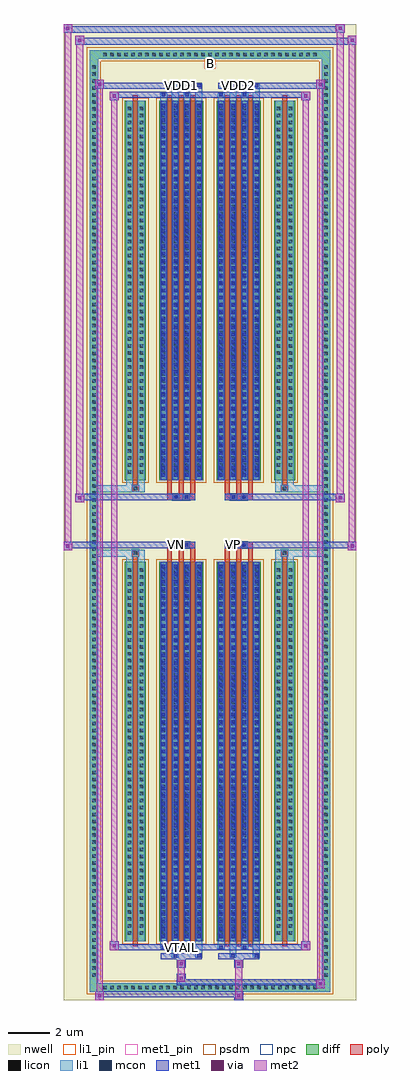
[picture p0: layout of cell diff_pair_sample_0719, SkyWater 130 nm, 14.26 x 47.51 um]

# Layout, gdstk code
import gdstk
lib = gdstk.Library(unit=1e-6, precision=5e-09)
def R(c, l, rs):  # rectangles x0, y0, x1, y1
    for r in rs: c.add(gdstk.rectangle(r[:2], r[2:], *l))
def A(c, l, x, y, w, h, nx, ny, dx, dy):  # array of equal rectangles
    R(c, l, [(x+i*dx, y+j*dy, x+i*dx+w, y+j*dy+h) for i in range(nx) for j in range(ny)])
def P(c, l, *ps):  # polygons
    for p in ps: c.add(gdstk.Polygon(p, *l))
nwell = (64, 20)
diff = (65, 20)
poly = (66, 20)
licon = (66, 44)
li1_pin = (67, 16)
li1 = (67, 20)
mcon = (67, 44)
met1_pin = (68, 16)
met1 = (68, 20)
via = (68, 44)
met2 = (69, 20)
psdm = (94, 20)
npc = (95, 20)

diff_pair_sample_0719 = lib.new_cell('diff_pair_sample_0719')
R(diff_pair_sample_0719, nwell, [(-7.13,-23.32,7.13,24.19), (-4.45,-21.51,-0.01,-0.805), (0.01,-21.51,4.45,-0.805), (-4.45,0.805,-0.01,21.51), (0.01,0.805,4.45,21.51)])
A(diff_pair_sample_0719, diff, -5.305, -22.92, 0.41, 0.41, 31, 2, 0.34, 45.43)
A(diff_pair_sample_0719, diff, -5.86, -22.305, 0.41, 0.41, 1, 131, 0, 0.34)
A(diff_pair_sample_0719, diff, 5.45, -22.305, 0.41, 0.41, 1, 131, 0, 0.34)
R(diff_pair_sample_0719, diff, [(-5.305,-22.92,5.305,-22.51), (-5.86,-22.305,-5.45,22.305), (5.45,-22.305,5.86,22.305), (-4.14,-20.465,-3.12,-1.985), (-2.48,-20.465,-0.32,-1.985), (0.32,-20.465,2.48,-1.985), (3.12,-20.465,4.14,-1.985), (-4.14,1.985,-3.12,20.465), (-2.48,1.985,-0.32,20.465), (0.32,1.985,2.48,20.465), (3.12,1.985,4.14,20.465), (-5.305,22.51,5.305,22.92)])
P(diff_pair_sample_0719, diff, [(5.86,22.92),(-5.86,22.92),(-5.86,-22.51),(-5.45,-22.51),(-5.45,22.51),(5.45,22.51),(5.45,-22.51),(-5.45,-22.51),(-5.86,-22.51),(-5.86,-22.92),(5.86,-22.92)])
A(diff_pair_sample_0719, poly, -2.09, -20.715, 0.24, 18.98, 3, 2, 0.57, 22.45)
A(diff_pair_sample_0719, poly, 0.71, -20.715, 0.24, 18.98, 3, 2, 0.57, 22.45)
A(diff_pair_sample_0719, poly, -2.09, -1.735, 0.24, 0.4, 3, 2, 0.57, 3.07)
A(diff_pair_sample_0719, poly, 0.71, -1.735, 0.24, 0.4, 3, 2, 0.57, 3.07)
R(diff_pair_sample_0719, poly, [(-3.75,-20.715,-3.51,-1.735), (3.51,-20.715,3.75,-1.735), (-3.795,-1.735,-3.465,-1.405), (-3.795,-1.735,-3.465,-1.405), (3.465,-1.735,3.795,-1.405), (3.465,-1.735,3.795,-1.405), (-2.09,-1.335,-0.71,-1.005), (-1.815,-1.335,-1.485,-1.005), (-1.315,-1.335,-0.985,-1.005), (0.71,-1.335,2.09,-1.005), (0.985,-1.335,1.315,-1.005), (1.485,-1.335,1.815,-1.005), (-2.09,1.005,-0.71,1.335), (-1.815,1.005,-1.485,1.335), (-1.315,1.005,-0.985,1.335), (0.71,1.005,2.09,1.335), (0.985,1.005,1.315,1.335), (1.485,1.005,1.815,1.335), (-3.795,1.405,-3.465,1.735), (-3.795,1.405,-3.465,1.735), (3.465,1.405,3.795,1.735), (3.465,1.405,3.795,1.735), (-3.75,1.735,-3.51,20.715), (3.51,1.735,3.75,20.715)])
A(diff_pair_sample_0719, licon, -5.185, -22.8, 0.17, 0.17, 31, 2, 0.34, 45.43)
A(diff_pair_sample_0719, licon, -5.74, -22.185, 0.17, 0.17, 1, 131, 0, 0.34)
A(diff_pair_sample_0719, licon, 5.57, -22.185, 0.17, 0.17, 1, 131, 0, 0.34)
A(diff_pair_sample_0719, licon, -4, -20.15, 0.17, 0.17, 1, 53, 0, 0.34)
A(diff_pair_sample_0719, licon, -3.43, -20.15, 0.17, 0.17, 1, 53, 0, 0.34)
A(diff_pair_sample_0719, licon, -2.34, -20.15, 0.17, 0.17, 4, 53, 0.57, 0.34)
A(diff_pair_sample_0719, licon, 0.46, -20.15, 0.17, 0.17, 4, 53, 0.57, 0.34)
A(diff_pair_sample_0719, licon, 3.26, -20.15, 0.17, 0.17, 1, 53, 0, 0.34)
A(diff_pair_sample_0719, licon, 3.83, -20.15, 0.17, 0.17, 1, 53, 0, 0.34)
A(diff_pair_sample_0719, licon, -4, 2.3, 0.17, 0.17, 1, 53, 0, 0.34)
A(diff_pair_sample_0719, licon, -3.43, 2.3, 0.17, 0.17, 1, 53, 0, 0.34)
A(diff_pair_sample_0719, licon, -2.34, 2.3, 0.17, 0.17, 4, 53, 0.57, 0.34)
A(diff_pair_sample_0719, licon, 0.46, 2.3, 0.17, 0.17, 4, 53, 0.57, 0.34)
A(diff_pair_sample_0719, licon, 3.26, 2.3, 0.17, 0.17, 1, 53, 0, 0.34)
A(diff_pair_sample_0719, licon, 3.83, 2.3, 0.17, 0.17, 1, 53, 0, 0.34)
R(diff_pair_sample_0719, licon, [(-3.715,-1.655,-3.545,-1.485), (3.545,-1.655,3.715,-1.485), (-1.735,-1.255,-1.565,-1.085), (-1.235,-1.255,-1.065,-1.085), (1.065,-1.255,1.235,-1.085), (1.565,-1.255,1.735,-1.085), (-1.735,1.085,-1.565,1.255), (-1.235,1.085,-1.065,1.255), (1.065,1.085,1.235,1.255), (1.565,1.085,1.735,1.255), (-3.715,1.485,-3.545,1.655), (3.545,1.485,3.715,1.655)])
R(diff_pair_sample_0719, li1_pin, [(-0.25,22.01,0.25,22.51)])
A(diff_pair_sample_0719, li1, -5.265, -22.88, 0.33, 0.33, 31, 2, 0.34, 45.43)
A(diff_pair_sample_0719, li1, -5.82, -22.265, 0.33, 0.33, 1, 131, 0, 0.34)
A(diff_pair_sample_0719, li1, 5.49, -22.265, 0.33, 0.33, 1, 131, 0, 0.34)
A(diff_pair_sample_0719, li1, -2.42, -20.465, 0.33, 18.48, 4, 2, 0.57, 22.45)
A(diff_pair_sample_0719, li1, 0.38, -20.465, 0.33, 18.48, 4, 2, 0.57, 22.45)
A(diff_pair_sample_0719, li1, -2.34, -20.31, 0.17, 0.17, 4, 51, 0.57, 0.36)
A(diff_pair_sample_0719, li1, -2.34, -20.31, 0.17, 18.17, 4, 2, 0.57, 22.45)
A(diff_pair_sample_0719, li1, 0.46, -20.31, 0.17, 0.17, 4, 51, 0.57, 0.36)
A(diff_pair_sample_0719, li1, 0.46, -20.31, 0.17, 18.17, 4, 2, 0.57, 22.45)
A(diff_pair_sample_0719, li1, -4.08, -20.23, 0.33, 0.33, 1, 53, 0, 0.34)
A(diff_pair_sample_0719, li1, -3.51, -20.23, 0.33, 0.33, 1, 53, 0, 0.34)
A(diff_pair_sample_0719, li1, -2.42, -20.23, 0.33, 0.33, 4, 53, 0.57, 0.34)
A(diff_pair_sample_0719, li1, 0.38, -20.23, 0.33, 0.33, 4, 53, 0.57, 0.34)
A(diff_pair_sample_0719, li1, 3.18, -20.23, 0.33, 0.33, 1, 53, 0, 0.34)
A(diff_pair_sample_0719, li1, 3.75, -20.23, 0.33, 0.33, 1, 53, 0, 0.34)
A(diff_pair_sample_0719, li1, -2.34, 2.14, 0.17, 0.17, 4, 51, 0.57, 0.36)
A(diff_pair_sample_0719, li1, 0.46, 2.14, 0.17, 0.17, 4, 51, 0.57, 0.36)
A(diff_pair_sample_0719, li1, -4.08, 2.22, 0.33, 0.33, 1, 53, 0, 0.34)
A(diff_pair_sample_0719, li1, -3.51, 2.22, 0.33, 0.33, 1, 53, 0, 0.34)
A(diff_pair_sample_0719, li1, -2.42, 2.22, 0.33, 0.33, 4, 53, 0.57, 0.34)
A(diff_pair_sample_0719, li1, 0.38, 2.22, 0.33, 0.33, 4, 53, 0.57, 0.34)
A(diff_pair_sample_0719, li1, 3.18, 2.22, 0.33, 0.33, 1, 53, 0, 0.34)
A(diff_pair_sample_0719, li1, 3.75, 2.22, 0.33, 0.33, 1, 53, 0, 0.34)
R(diff_pair_sample_0719, li1, [(-5.86,-22.92,-5.45,-22.51), (-5.86,-22.92,-5.45,-22.51), (-5.45,-22.92,5.45,-22.51), (5.45,-22.92,5.86,-22.51), (5.45,-22.92,5.86,-22.51), (-5.86,-22.51,-5.45,22.51), (5.45,-22.51,5.86,22.51), (-1.85,-21.27,-1.52,-20.465), (-1.77,-21.27,-1.6,-21.1), (-0.71,-21.27,-0.38,-20.465), (-0.63,-21.27,-0.46,-21.1), (0.95,-21.27,1.28,-20.465), (1.03,-21.27,1.2,-21.1), (2.09,-21.27,2.42,-20.465), (2.17,-21.27,2.34,-21.1), (-2.42,-20.84,-2.09,-20.465), (-2.34,-20.84,-2.17,-20.67), (-1.28,-20.84,-0.95,-20.465), (-1.2,-20.84,-1.03,-20.67), (0.38,-20.84,0.71,-20.465), (0.46,-20.84,0.63,-20.67), (1.52,-20.84,1.85,-20.465), (1.6,-20.84,1.77,-20.67), (-4.08,-20.465,-3.75,-1.985), (-3.51,-20.465,-3.18,-1.985), (3.18,-20.465,3.51,-1.985), (3.75,-20.465,4.08,-1.985), (-4.08,-1.985,-3.75,-1.405), (-3.51,-1.985,-3.18,-1.405), (3.18,-1.985,3.51,-1.405), (3.75,-1.985,4.08,-1.405), (-5.86,-1.735,-3.795,-1.405), (-4.08,-1.735,-3.795,-1.405), (-3.795,-1.735,-3.465,-1.405), (-3.465,-1.735,-3.18,-1.405), (3.18,-1.735,3.465,-1.405), (3.465,-1.735,3.795,-1.405), (3.465,-1.735,5.86,-1.405), (3.795,-1.735,4.08,-1.405), (-1.815,-1.335,-1.485,-1.005), (-1.315,-1.335,-0.985,-1.005), (0.985,-1.335,1.315,-1.005), (1.485,-1.335,1.815,-1.005), (-1.815,1.005,-1.485,1.335), (-1.315,1.005,-0.985,1.335), (0.985,1.005,1.315,1.335), (1.485,1.005,1.815,1.335), (-5.86,1.405,-3.795,1.735), (-4.08,1.405,-3.795,1.735), (-4.08,1.405,-3.75,1.985), (-3.795,1.405,-3.465,1.735), (-3.51,1.405,-3.18,1.985), (-3.465,1.405,-3.18,1.735), (3.18,1.405,3.465,1.735), (3.18,1.405,3.51,1.985), (3.465,1.405,3.795,1.735), (3.465,1.405,5.86,1.735), (3.75,1.405,4.08,1.985), (3.795,1.405,4.08,1.735), (-4.08,1.985,-3.75,20.465), (-3.51,1.985,-3.18,20.465), (3.18,1.985,3.51,20.465), (3.75,1.985,4.08,20.465), (-2.42,20.465,-2.09,20.84), (-1.85,20.465,-1.52,21.27), (-1.28,20.465,-0.95,20.84), (-0.71,20.465,-0.38,21.27), (0.38,20.465,0.71,20.84), (0.95,20.465,1.28,21.27), (1.52,20.465,1.85,20.84), (2.09,20.465,2.42,21.27), (-2.34,20.67,-2.17,20.84), (-1.2,20.67,-1.03,20.84), (0.46,20.67,0.63,20.84), (1.6,20.67,1.77,20.84), (-1.77,21.1,-1.6,21.27), (-0.63,21.1,-0.46,21.27), (1.03,21.1,1.2,21.27), (2.17,21.1,2.34,21.27), (-5.86,22.51,-5.45,22.92), (-5.86,22.51,-5.45,22.92), (-5.45,22.51,5.45,22.92), (5.45,22.51,5.86,22.92), (5.45,22.51,5.86,22.92)])
A(diff_pair_sample_0719, mcon, -2.34, -20.31, 0.17, 0.17, 4, 51, 0.57, 0.36)
A(diff_pair_sample_0719, mcon, 0.46, -20.31, 0.17, 0.17, 4, 51, 0.57, 0.36)
A(diff_pair_sample_0719, mcon, -2.34, 2.14, 0.17, 0.17, 4, 51, 0.57, 0.36)
A(diff_pair_sample_0719, mcon, 0.46, 2.14, 0.17, 0.17, 4, 51, 0.57, 0.36)
R(diff_pair_sample_0719, mcon, [(-1.77,-21.27,-1.6,-21.1), (-0.63,-21.27,-0.46,-21.1), (1.03,-21.27,1.2,-21.1), (2.17,-21.27,2.34,-21.1), (-2.34,-20.84,-2.17,-20.67), (-1.2,-20.84,-1.03,-20.67), (0.46,-20.84,0.63,-20.67), (1.6,-20.84,1.77,-20.67), (-1.735,-1.255,-1.565,-1.085), (-1.235,-1.255,-1.065,-1.085), (1.065,-1.255,1.235,-1.085), (1.565,-1.255,1.735,-1.085), (-1.735,1.085,-1.565,1.255), (-1.235,1.085,-1.065,1.255), (1.065,1.085,1.235,1.255), (1.565,1.085,1.735,1.255), (-2.34,20.67,-2.17,20.84), (-1.2,20.67,-1.03,20.84), (0.46,20.67,0.63,20.84), (1.6,20.67,1.77,20.84), (-1.77,21.1,-1.6,21.27), (-0.63,21.1,-0.46,21.27), (1.03,21.1,1.2,21.27), (2.17,21.1,2.34,21.27)])
R(diff_pair_sample_0719, met1_pin, [(-1.535,-20.88,-1.265,-20.61), (-1.785,-1.295,-1.515,-1.025), (1.015,-1.295,1.285,-1.025), (-1.535,21.06,-1.265,21.33), (1.265,21.06,1.535,21.33)])
A(diff_pair_sample_0719, met1, -2.4, -20.465, 0.29, 18.48, 4, 2, 0.57, 22.45)
A(diff_pair_sample_0719, met1, 0.4, -20.465, 0.29, 18.48, 4, 2, 0.57, 22.45)
A(diff_pair_sample_0719, met1, -2.4, -20.37, 0.29, 0.29, 4, 51, 0.57, 0.36)
A(diff_pair_sample_0719, met1, 0.4, -20.37, 0.29, 0.29, 4, 51, 0.57, 0.36)
A(diff_pair_sample_0719, met1, -2.4, 2.08, 0.29, 0.29, 4, 51, 0.57, 0.36)
A(diff_pair_sample_0719, met1, 0.4, 2.08, 0.29, 0.29, 4, 51, 0.57, 0.36)
R(diff_pair_sample_0719, met1, [(-5.59,-23.32,-5.16,-22.89), (1.185,-23.32,1.615,-22.89), (-5.59,-23.18,1.615,-22.89), (5.16,-22.75,5.59,-22.32), (-1.615,-22.61,5.59,-22.32), (-1.615,-22.47,-1.185,-22.04), (-1.615,-21.76,-1.185,-21.33), (1.185,-21.76,1.615,-21.33), (-2.4,-21.33,-0.4,-21.04), (-1.83,-21.33,-1.54,-21.04), (-0.69,-21.33,-0.4,-21.04), (0.4,-21.33,2.4,-21.04), (0.97,-21.33,1.26,-21.04), (2.11,-21.33,2.4,-21.04), (-4.88,-20.9,-4.45,-20.47), (-4.88,-20.9,-2.4,-20.61), (-2.4,-20.9,-2.11,-20.61), (-2.4,-20.9,-0.4,-20.61), (-1.26,-20.9,-0.97,-20.61), (-0.4,-20.9,0.4,-20.61), (0.4,-20.9,0.69,-20.61), (0.4,-20.9,2.4,-20.61), (1.54,-20.9,1.83,-20.61), (2.4,-20.9,4.88,-20.61), (4.45,-20.9,4.88,-20.47), (-7.13,-1.435,-6.7,-1.005), (6.7,-1.435,7.13,-1.005), (-7.13,-1.335,-0.71,-1.005), (-2.09,-1.335,-0.71,-1.005), (0.71,-1.335,2.09,-1.005), (0.71,-1.335,7.13,-1.005), (-1.795,-1.315,-1.505,-1.025), (-1.295,-1.315,-1.005,-1.025), (1.005,-1.315,1.295,-1.025), (1.505,-1.315,1.795,-1.025), (-6.56,0.905,-6.13,1.335), (6.13,0.905,6.56,1.335), (-6.56,1.005,-2.09,1.335), (-2.09,1.005,-0.71,1.335), (0.71,1.005,2.09,1.335), (2.09,1.005,6.56,1.335), (-1.795,1.025,-1.505,1.315), (-1.295,1.025,-1.005,1.315), (1.005,1.025,1.295,1.315), (1.505,1.025,1.795,1.315), (-4.88,20.47,-4.45,20.9), (4.45,20.47,4.88,20.9), (-4.88,20.61,-2.4,20.9), (-2.4,20.61,-2.11,20.9), (-2.4,20.61,-0.4,20.9), (-1.26,20.61,-0.97,20.9), (-0.4,20.61,0.4,20.9), (0.4,20.61,0.69,20.9), (0.4,20.61,2.4,20.9), (1.54,20.61,1.83,20.9), (2.4,20.61,4.88,20.9), (-5.59,21.04,-5.16,21.47), (-5.59,21.04,-2.4,21.33), (-2.4,21.04,-0.4,21.33), (-1.83,21.04,-1.54,21.33), (-0.69,21.04,-0.4,21.33), (0.4,21.04,2.4,21.33), (0.97,21.04,1.26,21.33), (2.11,21.04,2.4,21.33), (2.4,21.04,5.59,21.33), (5.16,21.04,5.59,21.47), (-6.56,23.19,-6.13,23.62), (-6.56,23.19,-4.45,23.52), (-4.45,23.19,4.45,23.52), (4.45,23.19,7.13,23.52), (6.7,23.19,7.13,23.62), (-7.13,23.76,-6.7,24.19), (-7.13,23.76,-4.45,24.09), (-4.45,23.76,4.45,24.09), (4.45,23.76,6.56,24.09), (6.13,23.76,6.56,24.19)])
R(diff_pair_sample_0719, via, [(-5.45,-23.18,-5.3,-23.03), (1.325,-23.18,1.475,-23.03), (5.3,-22.61,5.45,-22.46), (-1.475,-22.33,-1.325,-22.18), (-1.475,-21.62,-1.325,-21.47), (1.325,-21.62,1.475,-21.47), (-4.74,-20.76,-4.59,-20.61), (4.59,-20.76,4.74,-20.61), (-6.99,-1.295,-6.84,-1.145), (6.84,-1.295,6.99,-1.145), (-6.42,1.045,-6.27,1.195), (6.27,1.045,6.42,1.195), (-4.74,20.61,-4.59,20.76), (4.59,20.61,4.74,20.76), (-5.45,21.18,-5.3,21.33), (5.3,21.18,5.45,21.33), (-6.42,23.33,-6.27,23.48), (6.84,23.33,6.99,23.48), (-6.99,23.9,-6.84,24.05), (6.27,23.9,6.42,24.05)])
R(diff_pair_sample_0719, met2, [(-5.59,-23.32,-5.16,-22.89), (-5.52,-23.32,-5.23,21.47), (-5.23,-23.32,-5.16,-22.89), (-5.54,-23.27,-5.21,-22.94), (1.235,-23.27,1.565,-22.94), (1.235,-22.94,1.565,-21.71), (5.16,-22.75,5.59,-22.32), (5.23,-22.75,5.52,21.47), (5.52,-22.75,5.59,-22.32), (5.21,-22.7,5.54,-22.37), (-1.565,-22.42,-1.235,-22.09), (-1.565,-22.09,-1.235,-21.71), (-1.565,-21.71,-1.235,-21.38), (1.235,-21.71,1.565,-21.38), (-4.88,-20.9,-4.45,-20.47), (-4.81,-20.9,-4.52,20.9), (-4.52,-20.9,-4.45,-20.47), (4.45,-20.9,4.88,-20.47), (4.52,-20.9,4.81,20.9), (4.81,-20.9,4.88,-20.47), (-4.83,-20.85,-4.5,-20.52), (4.5,-20.85,4.83,-20.52), (-7.13,-1.435,-6.7,-1.005), (-7.08,-1.435,-6.75,24.19), (-6.75,-1.435,-6.7,-1.005), (6.7,-1.435,7.13,-1.005), (6.75,-1.435,7.08,23.62), (7.08,-1.435,7.13,-1.005), (-7.08,-1.385,-6.75,-1.055), (6.75,-1.385,7.08,-1.055), (-6.56,0.905,-6.13,1.335), (-6.51,0.905,-6.18,23.62), (-6.18,0.905,-6.13,1.335), (6.13,0.905,6.56,1.335), (6.18,0.905,6.51,24.19), (6.51,0.905,6.56,1.335), (-6.51,0.955,-6.18,1.285), (6.18,0.955,6.51,1.285), (-4.88,20.47,-4.45,20.9), (-4.52,20.47,-4.45,20.9), (4.45,20.47,4.88,20.9), (4.81,20.47,4.88,20.9), (-4.83,20.52,-4.5,20.85), (4.5,20.52,4.83,20.85), (-5.59,21.04,-5.16,21.47), (-5.23,21.04,-5.16,21.47), (5.16,21.04,5.59,21.47), (5.52,21.04,5.59,21.47), (-5.54,21.09,-5.21,21.42), (5.21,21.09,5.54,21.42), (-6.56,23.19,-6.13,23.62), (-6.18,23.19,-6.13,23.62), (6.7,23.19,7.13,23.62), (7.08,23.19,7.13,23.62), (-6.51,23.24,-6.18,23.57), (6.75,23.24,7.08,23.57), (-7.13,23.76,-6.7,24.19), (-6.75,23.76,-6.7,24.19), (6.13,23.76,6.56,24.19), (6.51,23.76,6.56,24.19), (-7.08,23.81,-6.75,24.14), (6.18,23.81,6.51,24.14)])
R(diff_pair_sample_0719, psdm, [(-4.27,-20.595,-2.99,-1.855), (-2.61,-20.595,-0.19,-1.855), (0.19,-20.595,2.61,-1.855), (2.99,-20.595,4.27,-1.855), (-4.27,1.855,-2.99,20.595), (-2.61,1.855,-0.19,20.595), (0.19,1.855,2.61,20.595), (2.99,1.855,4.27,20.595)])
P(diff_pair_sample_0719, psdm, [(5.99,23.05),(-5.99,23.05),(-5.99,-22.38),(-5.32,-22.38),(-5.32,22.38),(5.32,22.38),(5.32,-22.38),(-5.32,-22.38),(-5.99,-22.38),(-5.99,-23.05),(5.99,-23.05)])
R(diff_pair_sample_0719, npc, [(-3.815,-1.755,-3.445,-1.385), (3.445,-1.755,3.815,-1.385), (-1.835,-1.355,-1.465,-0.985), (-1.835,-1.355,-0.965,-0.985), (-1.835,-1.355,-0.965,-0.985), (-1.335,-1.355,-0.965,-0.985), (0.965,-1.355,1.335,-0.985), (0.965,-1.355,1.835,-0.985), (0.965,-1.355,1.835,-0.985), (1.465,-1.355,1.835,-0.985), (-1.835,0.985,-1.465,1.355), (-1.835,0.985,-0.965,1.355), (-1.835,0.985,-0.965,1.355), (-1.335,0.985,-0.965,1.355), (0.965,0.985,1.335,1.355), (0.965,0.985,1.835,1.355), (0.965,0.985,1.835,1.355), (1.465,0.985,1.835,1.355), (-3.815,1.385,-3.445,1.755), (3.445,1.385,3.815,1.755)])
diff_pair_sample_0719.add(gdstk.Label('VTAIL', (-1.4,-20.745), layer=68, texttype=5))
diff_pair_sample_0719.add(gdstk.Label('VN', (-1.65,-1.16), layer=68, texttype=5))
diff_pair_sample_0719.add(gdstk.Label('VP', (1.15,-1.16), layer=68, texttype=5))
diff_pair_sample_0719.add(gdstk.Label('B', (0,22.26), layer=67, texttype=5))
diff_pair_sample_0719.add(gdstk.Label('VDD2', (1.4,21.195), layer=68, texttype=5))
diff_pair_sample_0719.add(gdstk.Label('VDD1', (-1.4,21.195), layer=68, texttype=5))

lib.write_gds('diff_pair_sample_0719.gds')
